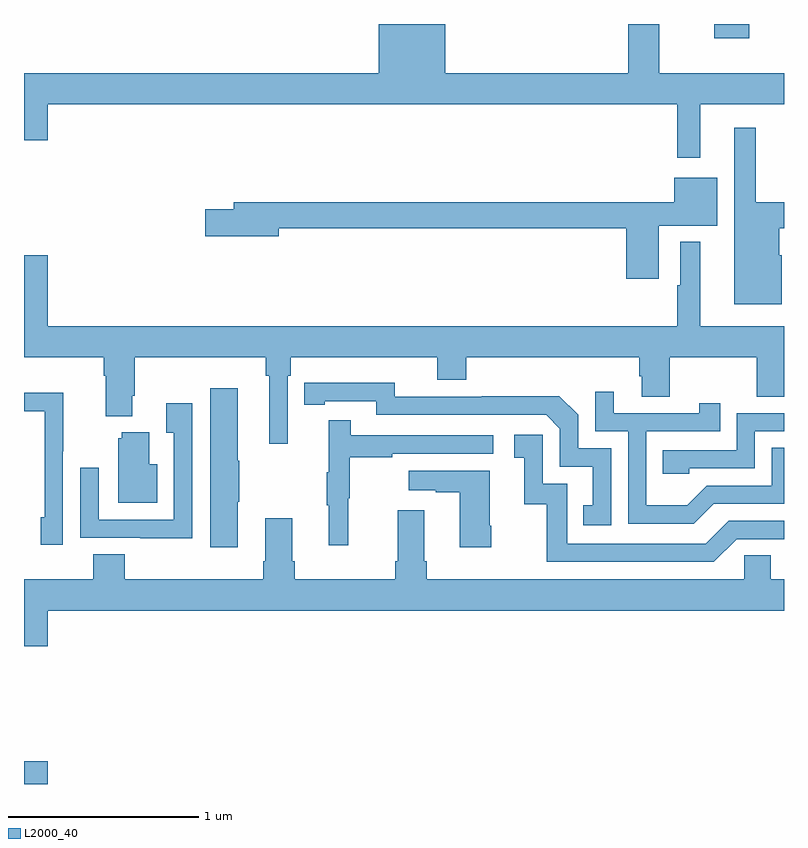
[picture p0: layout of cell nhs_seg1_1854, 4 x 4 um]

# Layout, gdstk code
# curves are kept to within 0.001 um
import gdstk
lib = gdstk.Library(unit=1e-6, precision=1e-09)
def R(c, l, rs):  # rectangles x0, y0, x1, y1
    for r in rs: c.add(gdstk.rectangle(r[:2], r[2:], *l))
def P(c, l, *ps):  # polygons
    for p in ps: c.add(gdstk.Polygon(p, *l))
L2000_40 = (2000, 40)

nhs_seg1_1854 = lib.new_cell('nhs_seg1_1854')
R(nhs_seg1_1854, L2000_40, [(213,504.199,213.124,504.319), (216.634,508.124,216.818,508.199)])
P(nhs_seg1_1854, L2000_40, [(216.559,507.776),(217,507.776),(217,507.94),(216.343,507.94),(216.343,508.199),(216.179,508.199),(216.179,507.94),(215.218,507.94),(215.218,508.199),(214.868,508.199),(214.868,507.94),(213,507.94),(213,507.588),(213.124,507.588),(213.124,507.776),(216.438,507.776),(216.438,507.495),(216.559,507.495)],
  [(216.988,506.982),(216.976,506.982),(216.976,507.124),(217,507.124),(217,507.26),(216.851,507.26),(216.851,507.652),(216.737,507.652),(216.737,506.723),(216.988,506.723)],
  [(216.34,507.137),(216.649,507.137),(216.649,507.391),(216.422,507.391),(216.422,507.26),(214.103,507.26),(214.103,507.224),(213.954,507.224),(213.954,507.082),(214.342,507.082),(214.342,507.124),(216.17,507.124),(216.17,506.859),(216.34,506.859)],
  [(214.389,506.348),(214.403,506.348),(214.403,506.444),(215.174,506.444),(215.174,506.327),(215.327,506.327),(215.327,506.444),(216.239,506.444),(216.239,506.346),(216.251,506.346),(216.251,506.236),(216.399,506.236),(216.399,506.444),(216.856,506.444),(216.856,506.236),(217,506.236),(217,506.608),(216.559,506.608),(216.559,507.052),(216.455,507.052),(216.455,506.825),(216.438,506.825),(216.438,506.608),(213.124,506.608),(213.124,506.983),(213,506.983),(213,506.444),(213.419,506.444),(213.419,506.348),(213.431,506.348),(213.431,506.135),(213.571,506.135),(213.571,506.242),(213.584,506.242),(213.584,506.444),(214.273,506.444),(214.273,506.348),(214.292,506.348),(214.292,505.989),(214.389,505.989)],
  [(216.09,505.965),(215.916,505.965),(215.916,506.142),(215.818,506.24),(215.41,506.24),(215.41,506.238),(214.95,506.238),(214.95,506.311),(214.474,506.31),(214.474,506.194),(214.582,506.194),(214.582,506.214),(214.854,506.214),(214.854,506.142),(215.748,506.142),(215.82,506.07),(215.82,505.869),(215.993,505.869),(215.993,505.665),(215.944,505.665),(215.944,505.56),(216.09,505.56)],
  [(214.126,505.684),(214.134,505.684),(214.134,505.901),(214.126,505.901),(214.126,506.281),(213.98,506.281),(213.98,505.446),(214.126,505.446)],
  [(216.631,505.674),(217,505.674),(217,505.969),(216.936,505.969),(216.936,505.77),(216.594,505.77),(216.49,505.666),(216.276,505.666),(216.276,506.055),(216.665,506.055),(216.665,506.203),(216.554,506.203),(216.554,506.151),(216.103,506.151),(216.103,506.263),(216.006,506.263),(216.006,506.055),(216.18,506.055),(216.18,505.569),(216.526,505.569)],
  [(213.204,505.951),(213.207,505.951),(213.207,506.258),(213,506.258),(213,506.16),(213.108,506.16),(213.108,505.602),(213.089,505.602),(213.089,505.458),(213.204,505.458)],
  [(213.885,506.203),(213.749,506.203),(213.749,506.047),(213.789,506.047),(213.789,505.59),(213.393,505.59),(213.393,505.864),(213.297,505.864),(213.297,505.494),(213.613,505.494),(213.613,505.493),(213.885,505.493)],
  [(216.501,505.86),(216.846,505.86),(216.846,506.055),(217,506.055),(217,506.151),(216.75,506.151),(216.75,505.956),(216.361,505.956),(216.361,505.833),(216.501,505.833)],
  [(214.706,505.704),(214.714,505.704),(214.714,505.918),(214.937,505.918),(214.937,505.938),(215.47,505.938),(215.47,506.034),(214.721,506.034),(214.721,506.113),(214.604,506.113),(214.604,505.841),(214.593,505.841),(214.593,505.667),(214.604,505.667),(214.604,505.455),(214.706,505.455)],
  [(213.7,505.882),(213.658,505.882),(213.658,506.05),(213.515,506.05),(213.515,506.019),(213.497,506.019),(213.497,505.679),(213.7,505.679)],
  [(216.75,505.488),(217,505.488),(217,505.584),(216.708,505.584),(216.588,505.464),(215.859,505.464),(215.859,505.779),(215.73,505.779),(215.73,506.038),(215.58,506.038),(215.58,505.917),(215.633,505.917),(215.633,505.671),(215.751,505.671),(215.751,505.368),(216.63,505.368)],
  [(215.46,505.558),(215.452,505.558),(215.452,505.849),(215.025,505.849),(215.025,505.745),(215.168,505.745),(215.168,505.735),(215.294,505.735),(215.294,505.446),(215.46,505.446)],
  [(213.124,505.112),(217,505.112),(217,505.276),(216.931,505.276),(216.931,505.403),(216.792,505.403),(216.792,505.276),(215.12,505.276),(215.12,505.372),(215.107,505.372),(215.107,505.639),(214.967,505.639),(214.967,505.372),(214.955,505.372),(214.955,505.276),(214.424,505.276),(214.424,505.372),(214.411,505.372),(214.411,505.597),(214.271,505.597),(214.271,505.372),(214.259,505.372),(214.259,505.276),(213.53,505.276),(213.53,505.409),(213.365,505.409),(213.365,505.276),(213,505.276),(213,504.924),(213.124,504.924)])

lib.write_gds('nhs_seg1_1854.gds')
